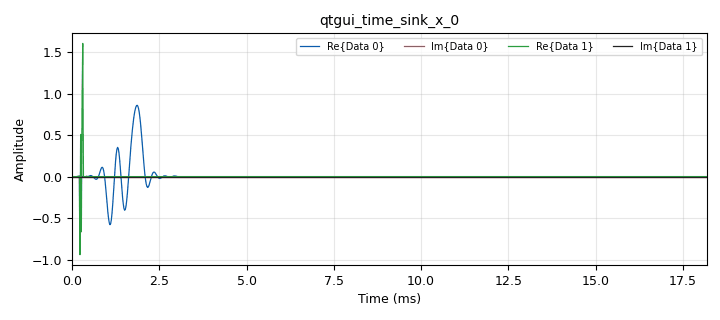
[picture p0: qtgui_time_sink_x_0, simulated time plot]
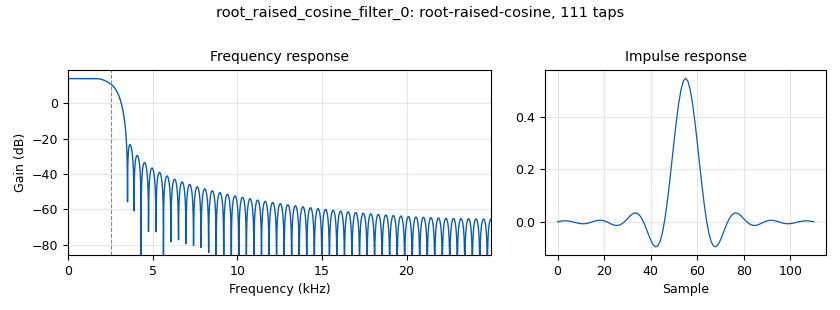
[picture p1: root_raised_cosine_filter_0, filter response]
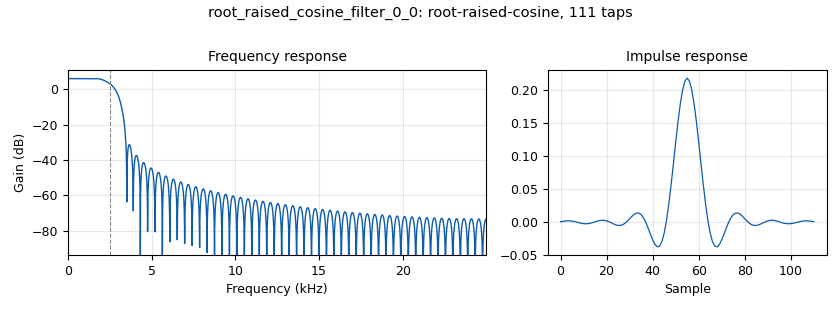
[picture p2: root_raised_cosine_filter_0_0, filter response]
options:
  parameters:
    author: venkata sriraj
    generate_options: qt_gui
    generator_class_name: PythonQtGuiGenerator
    generator_module: gnuradio.grc.workflows.python_qt_gui
    id: MOCZ
    output_language: python
    title: Not titled yet
  states: {}

blocks:
- name: G_Dec
  id: variable
  parameters:
    value: '2'
  states: {}
- name: G_Inter
  id: variable
  parameters:
    value: '5'
  states: {}
- name: K
  id: variable
  parameters:
    value: '4'
  states: {}
- name: Q
  id: variable
  parameters:
    value: '4'
  states: {}
- name: R
  id: variable
  parameters:
    value: None
  states: {}
- name: Rs
  id: variable
  parameters:
    value: 5e3
  states: {}
- name: SNR
  id: variable
  parameters:
    value: '20'
  states: {}
- name: excessBW
  id: variable
  parameters:
    value: '0.35'
  states: {}
- name: noiseVar
  id: variable
  parameters:
    value: 10**(-SNR/10)
  states: {}
- name: samp_rate
  id: variable
  parameters:
    value: Rs * sps
  states: {}
- name: samp_rate1
  id: variable
  parameters:
    value: '32000'
  states: {}
- name: sps
  id: variable
  parameters:
    value: '10'
  states: {}
- name: blocks_throttle2_0
  id: blocks_throttle2
  parameters:
    samples_per_second: samp_rate
    type: complex
  states: {}
- name: channels_channel_model_0
  id: channels_channel_model
  parameters:
    epsilon: '1.0'
    freq_offset: '0.0'
    noise_voltage: noiseVar * np.random.randn()
    seed: '0'
    taps: np.random.randn()
  states: {state: disabled}
- name: epy_block_0
  id: epy_block
  parameters:
    K: K
    Q: Q
    R: R
    _source_code: |-
      import numpy as np
      from gnuradio import gr

      class blk(gr.basic_block):  # other base classes are basic_block, decim_block, interp_block

          def __init__(self, K=4, Q=4, R=None):  # only default arguments here
              gr.basic_block.__init__(
                  self,
                  name='MCOZ Symbol Generator', 
                  in_sig=None,
                  out_sig=[np.complex64]
              )
              # if an attribute with the same name as a parameter is found,
              # a callback is registered (properties work, too).
              self.K = K
              self.Q = Q
              self.R = np.sqrt(1 + np.sin(np.pi/K)) if R is None else R
              self.zero_geometry = self.codebook_con()

          def codebook_con(self):
              Ri, Ro = self.R**(-1), self.R
              theta = 2 * np.pi / self.K
              return [( Ri * np.exp(1j*theta*k), Ro * np.exp(1j*theta*k) ) for k in range(self.K)]

          def coeffCon(self, msg):
              zeros = np.array([self.zero_geometry[mk][msg[mk]]*np.exp(1j*np.pi*0/self.K) for mk in range(self.K)])
              N = self.K * 2
              z = np.exp(2j * np.pi * np.arange(N) / N)
              X_Z = np.prod( z[:, None] - zeros[None, :], axis=1 )
              return np.fft.fft(X_Z)[:self.K+1]/N  # increasing powers, monic

          def general_work(self, input_items, output_items):
              msgTx = np.random.randint(0, 2, self.K)
              sigTx = self.coeffCon(msgTx)
              sigPower = np.mean(np.abs(sigTx)**2)
              sigTx /= np.sqrt(sigPower)
              
              output_items[0][:len(sigTx)] = sigTx[:]
              output_items[0][len(sigTx):] = np.zeros(len(output_items[0])-len(sigTx), dtype=complex)
              return len(output_items[0])
  states: {}
- name: epy_block_1
  id: epy_block
  parameters:
    _source_code: |
      import numpy as np
      from gnuradio import gr


      class blk(gr.sync_block):  # other base classes are basic_block, decim_block, interp_block
          """Embedded Python Block example - a simple multiply const"""

          def __init__(self, example_param=1.0):  # only default arguments here
              """arguments to this function show up as parameters in GRC"""
              gr.sync_block.__init__(
                  self,
                  name='MOCZ Receiver',   # will show up in GRC
                  in_sig=[np.complex64],
                  out_sig=[np.complex64]
              )
              # if an attribute with the same name as a parameter is found,
              # a callback is registered (properties work, too).
              self.example_param = example_param

          def work(self, input_items, output_items):
              """example: multiply with constant"""
              output_items[0][:] = input_items[0] * self.example_param
              return len(output_items[0])
    example_param: '1.0'
  states: {state: disabled}
- name: epy_block_2
  id: epy_block
  parameters:
    _source_code: |
      import numpy as np
      from gnuradio import gr

      class blk(gr.sync_block):  

          def __init__(self, example_param=1.0):  
              gr.sync_block.__init__(
                  self,
                  name='Huffman Energy Detector', 
                  in_sig=[np.complex64],
                  out_sig=[np.complex64]
              )
              self.example_param = example_param

          def work(self, input_items, output_items):
              output_items[0][:] = input_items[0] * self.example_param
              return len(output_items[0])
    example_param: '1.0'
  states: {}
- name: import_0
  id: import
  parameters:
    imports: import numpy as np
  states: {}
- name: qtgui_time_sink_x_0
  id: qtgui_time_sink_x
  parameters:
    autoscale: 'True'
    grid: 'True'
    nconnections: '2'
    size: '1024'
    srate: samp_rate
    type: complex
  states: {}
- name: root_raised_cosine_filter_0
  id: root_raised_cosine_filter
  parameters:
    alpha: excessBW
    gain: G_Inter
    interp: sps
    ntaps: 11*sps + 1
    samp_rate: samp_rate
    sym_rate: Rs
    type: interp_fir_filter_ccf
  states: {}
- name: root_raised_cosine_filter_0_0
  id: root_raised_cosine_filter
  parameters:
    alpha: excessBW
    decim: sps
    gain: G_Dec
    interp: sps
    ntaps: 11*sps + 1
    samp_rate: samp_rate
    sym_rate: Rs
    type: fir_filter_ccf
  states: {}

connections:
- [blocks_throttle2_0, '0', qtgui_time_sink_x_0, '0']
- [blocks_throttle2_0, '0', root_raised_cosine_filter_0_0, '0']
- [epy_block_0, '0', root_raised_cosine_filter_0, '0']
- [root_raised_cosine_filter_0, '0', blocks_throttle2_0, '0']
- [root_raised_cosine_filter_0_0, '0', qtgui_time_sink_x_0, '1']

metadata:
  file_format: 1
  grc_version: 3.10.12.0
